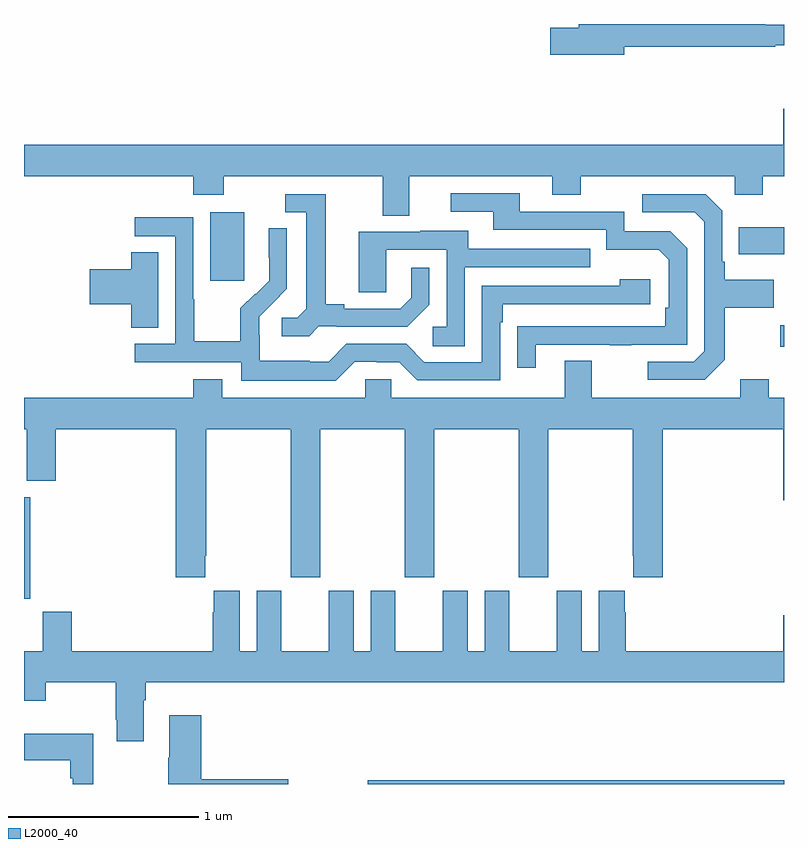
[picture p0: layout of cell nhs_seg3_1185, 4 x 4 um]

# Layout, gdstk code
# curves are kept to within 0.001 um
import gdstk
lib = gdstk.Library(unit=1e-6, precision=1e-09)
def R(c, l, rs):  # rectangles x0, y0, x1, y1
    for r in rs: c.add(gdstk.rectangle(r[:2], r[2:], *l))
def P(c, l, *ps):  # polygons
    for p in ps: c.add(gdstk.Polygon(p, *l))
L2000_40 = (2000, 40)

nhs_seg3_1185 = lib.new_cell('nhs_seg3_1185')
R(nhs_seg3_1185, L2000_40, [(174.809,680.4,177,680.42), (173,681.374,173.032,681.91), (176.979,682.701,177,682.814), (173.981,683.049,174.16,683.41), (176.761,683.189,177,683.329)])
P(nhs_seg3_1185, L2000_40, [(176.158,684.28),(176.954,684.28),(176.954,684.288),(177,684.288),(177,684.397),(176.9,684.397),(176.9,684.4),(175.919,684.4),(175.919,684.38),(175.77,684.38),(175.77,684.238),(176.158,684.238)],
  [(175.027,683.6),(175.781,683.6),(175.781,683.501),(175.929,683.501),(175.929,683.6),(176.742,683.6),(176.742,683.501),(176.889,683.501),(176.889,683.6),(177,683.6),(177,683.953),(176.996,683.953),(176.996,683.764),(173,683.764),(173,683.6),(173.891,683.6),(173.891,683.501),(174.051,683.501),(174.051,683.6),(174.887,683.6),(174.887,683.392),(175.027,683.392)],
  [(175.693,682.713),(176.083,682.713),(176.083,682.708),(176.195,682.708),(176.195,682.713),(176.49,682.713),(176.49,683.22),(176.4,683.31),(176.16,683.31),(176.16,683.412),(175.609,683.412),(175.609,683.508),(175.245,683.508),(175.245,683.412),(175.469,683.412),(175.469,683.316),(176.064,683.316),(176.064,683.213),(176.341,683.213),(176.394,683.16),(176.394,682.906),(176.374,682.906),(176.374,682.809),(175.597,682.808),(175.597,682.59),(175.693,682.59)],
  [(176.689,682.633),(176.689,682.906),(176.945,682.906),(176.945,683.053),(176.689,683.053),(176.689,683.149),(176.676,683.149),(176.676,683.418),(176.589,683.505),(176.253,683.505),(176.253,683.409),(176.529,683.409),(176.58,683.358),(176.58,682.677),(176.526,682.623),(176.283,682.623),(176.283,682.527),(176.583,682.527)],
  [(174.552,682.809),(174.646,682.809),(174.646,682.806),(175.018,682.806),(175.134,682.922),(175.134,683.116),(175.037,683.116),(175.037,682.959),(174.98,682.902),(174.685,682.902),(174.685,682.925),(174.589,682.925),(174.589,683.505),(174.375,683.505),(174.375,683.409),(174.485,683.409),(174.485,682.901),(174.438,682.854),(174.357,682.854),(174.357,682.757),(174.5,682.757)],
  [(174.741,682.623),(174.857,682.623),(174.857,682.62),(174.975,682.62),(175.071,682.524),(175.506,682.524),(175.506,682.829),(175.519,682.829),(175.519,682.926),(176.296,682.926),(176.296,683.056),(176.135,683.056),(176.135,683.022),(175.41,683.022),(175.41,682.62),(175.107,682.62),(175.011,682.716),(174.696,682.716),(174.603,682.623),(174.503,682.623),(174.503,682.627),(174.24,682.627),(174.24,682.761),(174.238,682.761),(174.238,682.858),(174.384,683.006),(174.384,683.324),(174.288,683.324),(174.288,683.17),(174.29,683.17),(174.29,683.048),(174.219,682.977),(174.216,682.98),(174.139,682.903),(174.139,682.729),(173.895,682.729),(173.895,682.952),(173.892,682.952),(173.892,683.382),(173.583,683.382),(173.583,683.283),(173.796,683.283),(173.796,682.716),(173.583,682.716),(173.583,682.62),(174.144,682.62),(174.144,682.523),(174.641,682.523)],
  [(175.32,683.121),(175.979,683.121),(175.979,683.217),(175.339,683.217),(175.339,683.311),(175.085,683.311),(175.085,683.307),(174.761,683.307),(174.761,682.987),(174.906,682.987),(174.906,683.211),(175.224,683.211),(175.224,682.806),(175.152,682.806),(175.152,682.705),(175.32,682.705)],
  [(173.707,683.198),(173.564,683.198),(173.564,683.108),(173.346,683.108),(173.346,682.925),(173.564,682.925),(173.564,682.801),(173.707,682.801)],
  [(173.953,681.601),(173.958,681.601),(173.958,682.268),(174.403,682.268),(174.403,681.489),(174.558,681.489),(174.558,682.268),(175.003,682.268),(175.003,681.489),(175.158,681.489),(175.158,682.268),(175.603,682.268),(175.603,681.489),(175.758,681.489),(175.758,682.268),(176.203,682.268),(176.203,681.601),(176.207,681.601),(176.207,681.489),(176.363,681.489),(176.363,682.268),(176.996,682.268),(176.996,681.894),(177,681.894),(177,682.432),(176.919,682.432),(176.919,682.531),(176.771,682.531),(176.771,682.432),(175.987,682.432),(175.987,682.627),(175.847,682.627),(175.847,682.432),(174.933,682.432),(174.933,682.53),(174.795,682.53),(174.795,682.432),(174.043,682.432),(174.043,682.531),(173.891,682.531),(173.891,682.432),(173,682.432),(173,682.268),(173.015,682.268),(173.015,681.995),(173.168,681.995),(173.168,682.268),(173.798,682.268),(173.798,681.489),(173.953,681.489)],
  [(173.629,680.84),(173.642,680.84),(173.642,680.936),(177,680.936),(177,681.289),(176.996,681.289),(176.996,681.1),(176.168,681.1),(176.168,681.305),(176.161,681.305),(176.161,681.418),(176.024,681.418),(176.024,681.1),(175.936,681.1),(175.936,681.418),(175.805,681.418),(175.805,681.1),(175.555,681.1),(175.555,681.418),(175.424,681.418),(175.424,681.1),(175.336,681.1),(175.336,681.418),(175.205,681.418),(175.205,681.1),(174.955,681.1),(174.955,681.418),(174.824,681.418),(174.824,681.1),(174.736,681.1),(174.736,681.418),(174.605,681.418),(174.605,681.1),(174.355,681.1),(174.355,681.418),(174.224,681.418),(174.224,681.1),(174.136,681.1),(174.136,681.418),(173.999,681.418),(173.999,681.305),(173.993,681.305),(173.993,681.1),(173.252,681.1),(173.252,681.307),(173.099,681.307),(173.099,681.1),(173,681.1),(173,680.837),(173.115,680.837),(173.115,680.936),(173.482,680.936),(173.482,680.737),(173.489,680.737),(173.489,680.625),(173.629,680.625)],
  [(174.391,680.426),(173.933,680.426),(173.933,680.761),(173.765,680.761),(173.765,680.537),(173.758,680.537),(173.758,680.4),(174.391,680.4)],
  [(173.365,680.665),(173,680.665),(173,680.525),(173.244,680.525),(173.244,680.429),(173.256,680.429),(173.256,680.4),(173.365,680.4)])

lib.write_gds('nhs_seg3_1185.gds')
